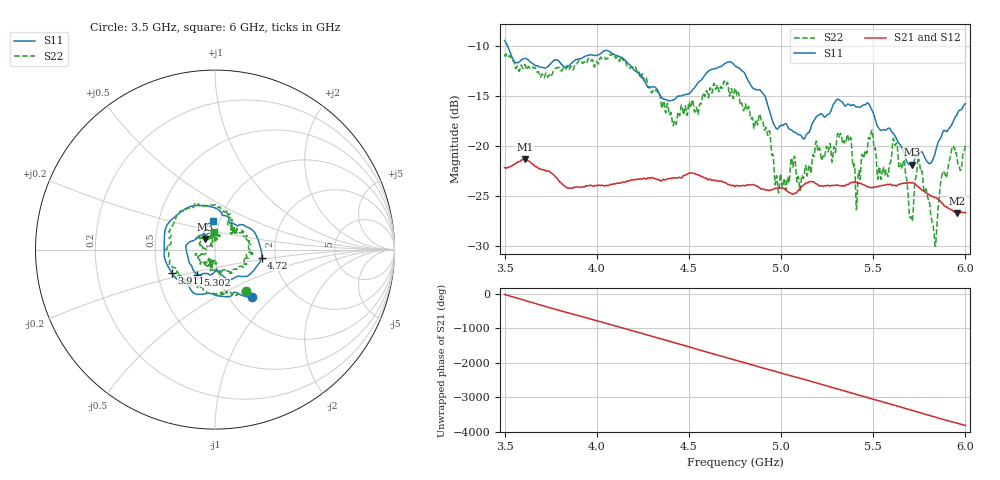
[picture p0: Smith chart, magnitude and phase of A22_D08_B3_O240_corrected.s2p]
! Created with skrf 1.9.0 (http://scikit-rf.org).
# Hz S RI R 50.0
!freq ReS11 ImS11 ReS21 ImS21 ReS12 ImS12 ReS22 ImS22
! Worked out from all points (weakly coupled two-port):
!   1601 points, 3.5 GHz to 6 GHz, reference 50 ohm
!   highest |S21| = -21.35 dB at 3.609 GHz (marker M1); lowest = -26.7 dB at 5.956 GHz (marker M2)
!   lowest |S11| = -21.9 dB at 5.709 GHz (marker M3), VSWR 1.18, Z = 44.5 + j5.28 ohm
!   |S11| at or under -10 dB: 3.516 GHz to end of sweep
!   |S22| runs from -30.0 to -10.8 dB; largest |S21 - S12| = 0.001
!   S11 on the Smith chart (normalised r, x): 3.5 GHz: 1.27, -0.76; 3.911 GHz: 0.60, -0.17; 4.72 GHz: 1.69, -0.16; 5.302 GHz: 0.79, -0.23; 6 GHz: 0.93, +0.31
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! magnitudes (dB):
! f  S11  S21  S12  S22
! 3.5 GHz  -9.5  -22.2  -22.1  -10.8
! 3.609 GHz  -11.3  -21.3  -21.3  -11.9
! 3.911 GHz  -11.3  -24.1  -24.1  -11.5
! 3.917 GHz  -11.2  -24.1  -24.1  -11.6
! 4.334 GHz  -14.6  -23.3  -23.3  -14.9
! 4.422 GHz  -15.3  -23.2  -23.2  -17.5
! 4.72 GHz  -11.6  -23.9  -23.9  -15.0
! 4.75 GHz  -12.0  -24.0  -24.0  -14.2
! 4.93 GHz  -16.1  -24.4  -24.4  -18.9
! 4.978 GHz  -18.3  -24.2  -24.2  -23.2
! 5.167 GHz  -17.9  -23.6  -23.6  -21.7
! 5.302 GHz  -15.4  -23.9  -23.9  -19.4
! 5.416 GHz  -16.1  -23.7  -23.8  -23.6
! 5.486 GHz  -16.2  -24.2  -24.1  -19.0
! 5.584 GHz  -18.2  -23.9  -23.8  -22.5
! 5.619 GHz  -19.0  -23.9  -24.0  -19.9
! 5.709 GHz  -21.9  -23.7  -23.6  -27.5
! 5.752 GHz  -20.6  -24.2  -24.2  -21.7
! 5.834 GHz  -20.8  -25.2  -25.1  -29.9
! 5.875 GHz  -18.8  -25.7  -25.7  -22.7
! 5.956 GHz  -16.8  -26.7  -26.7  -21.4
! 6 GHz  -15.8  -26.7  -26.6  -20.0
